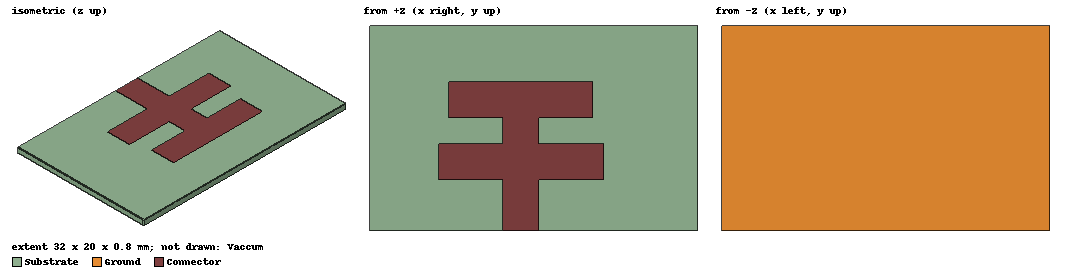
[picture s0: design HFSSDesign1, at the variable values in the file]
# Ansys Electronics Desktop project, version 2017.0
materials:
  vacuum: permittivity=1
  FR4_epoxy: permittivity=4.4 dielectric_loss_tangent=0.02
  air: permittivity=1.0006 permeability=1.0000004

design HFSSDesign1 (HFSS, DrivenModal, model units mm)
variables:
  L1 = 5.3mm
  L2 = 5.3mm
  W1 = 3.5mm
  L21 = 6.3mm
  W2 = 3.5mm
  L22 = 6.3mm
  W = 3.5mm
  H2 = 5mm
  Wf = -0.8mm
  H1 = 14.5mm
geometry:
  Substrate [FR4_epoxy] = box(corner=(0mm, 0mm, 0mm), size=(32mm, 20mm, 0.8mm))
  Ground = rectangle(corner=(0mm, 0mm, 0mm), x_size=32mm, y_size=20mm)
  UR = rectangle(corner=(W+13mm, H1+0mm-W1, 0.8mm), x_size=L1, y_size=W1)
  Connector = rectangle(corner=(13mm, 0mm, 0.8mm), x_size=W, y_size=H1)
  LR = rectangle(corner=(W+13mm, H2, 0.8mm), x_size=L21, y_size=W2)
  MicroStrip = rectangle(corner=(13mm, 0mm, 0.8mm), z_size=Wf, x_size=0.5mm)
  Vaccum [air] = box(corner=(45mm, -24.6mm, -0.5mm), size=(-64mm, 64mm, 1.8mm))
  UL = rectangle(corner=(13mm-L1, H1-W1, 0.8mm), x_size=L1, y_size=W1)
  LL = rectangle(corner=(13mm-L22, H2, 0.8mm), x_size=L22, y_size=W2)
  Connector.unite(LL, LR, UL, UR)
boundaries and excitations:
  Rad1: Radiation Objects=Vaccum
  PerfE1: Perfect E Objects=Connector
  PerfE2: Perfect E Objects=Ground
  1: Lumped Port Objects=MicroStrip Modes{Mode1{IntLine{middle of MicroStrip.edge(z opposite corner) -> middle of MicroStrip.edge(z at corner)} CharImp=Zpi RenormImp=50ohm}} Impedance=50ohm
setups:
  Setup1: HfssDriven AdaptMultipleFreqs MultipleAdaptiveFreqsSetup{Broadband{Low=2.4GHz High=5.6GHz}} MaxDeltaS=0.1 MaximumPasses=1 MinimumPasses=1 MinimumConvergedPasses=1 PercentRefinement=30 BasisOrder=1 PortAccuracy=2 RayDensityPerWavelength=4 MaxNumberOfBounces=5
    sweep Sweep: 2.4GHz to 5.6GHz, 451 points; Type=Interpolating InterpTolerance=0.5 InterpMaxSolns=250 InterpUsePortImped=false PassivityErrorTolerance=0.0001
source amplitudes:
  1:1: 1W 0deg
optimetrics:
  ParametricSetup1: Parametric Sim._Setups=[Setup1]
    sweep L21: LIN 6.3mm 7.3mm 0.5mm
    sweep L22: LIN 6.3mm 7.3mm 0.5mm
    sweep W1: LIN 1mm 3.5mm 0.5mm
    sweep W2: LIN 1mm 3.5mm 0.5mm
    sweep W: LIN 1mm 3.5mm 0.5mm
  OptimizationSetup1: Optimization Optimizer="Quasi Newton" AnalysisStopOptions{StopForNumIteration MaxNumIteration=1000 MinNumIteration=10} CostFuncNormType=L2 Acceptable_Cost=12 Noise=0.0001 UpdateDesignWhenDone
    goal dB(S(1,1)) == 10 weight 1 on Setup1 : Sweep at Freq 2.4GHz to 5.6GHz
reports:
  Data Table 1: dB(S(1,1)) vs Freq on Setup1 : Sweep [W1=all L21=all W2=all L22=all W=all]
  XY Plot 1: dB(S(1,1)) vs Freq on Setup1 : Sweep [W1=all L21=all W2=all L22=all W=all]
